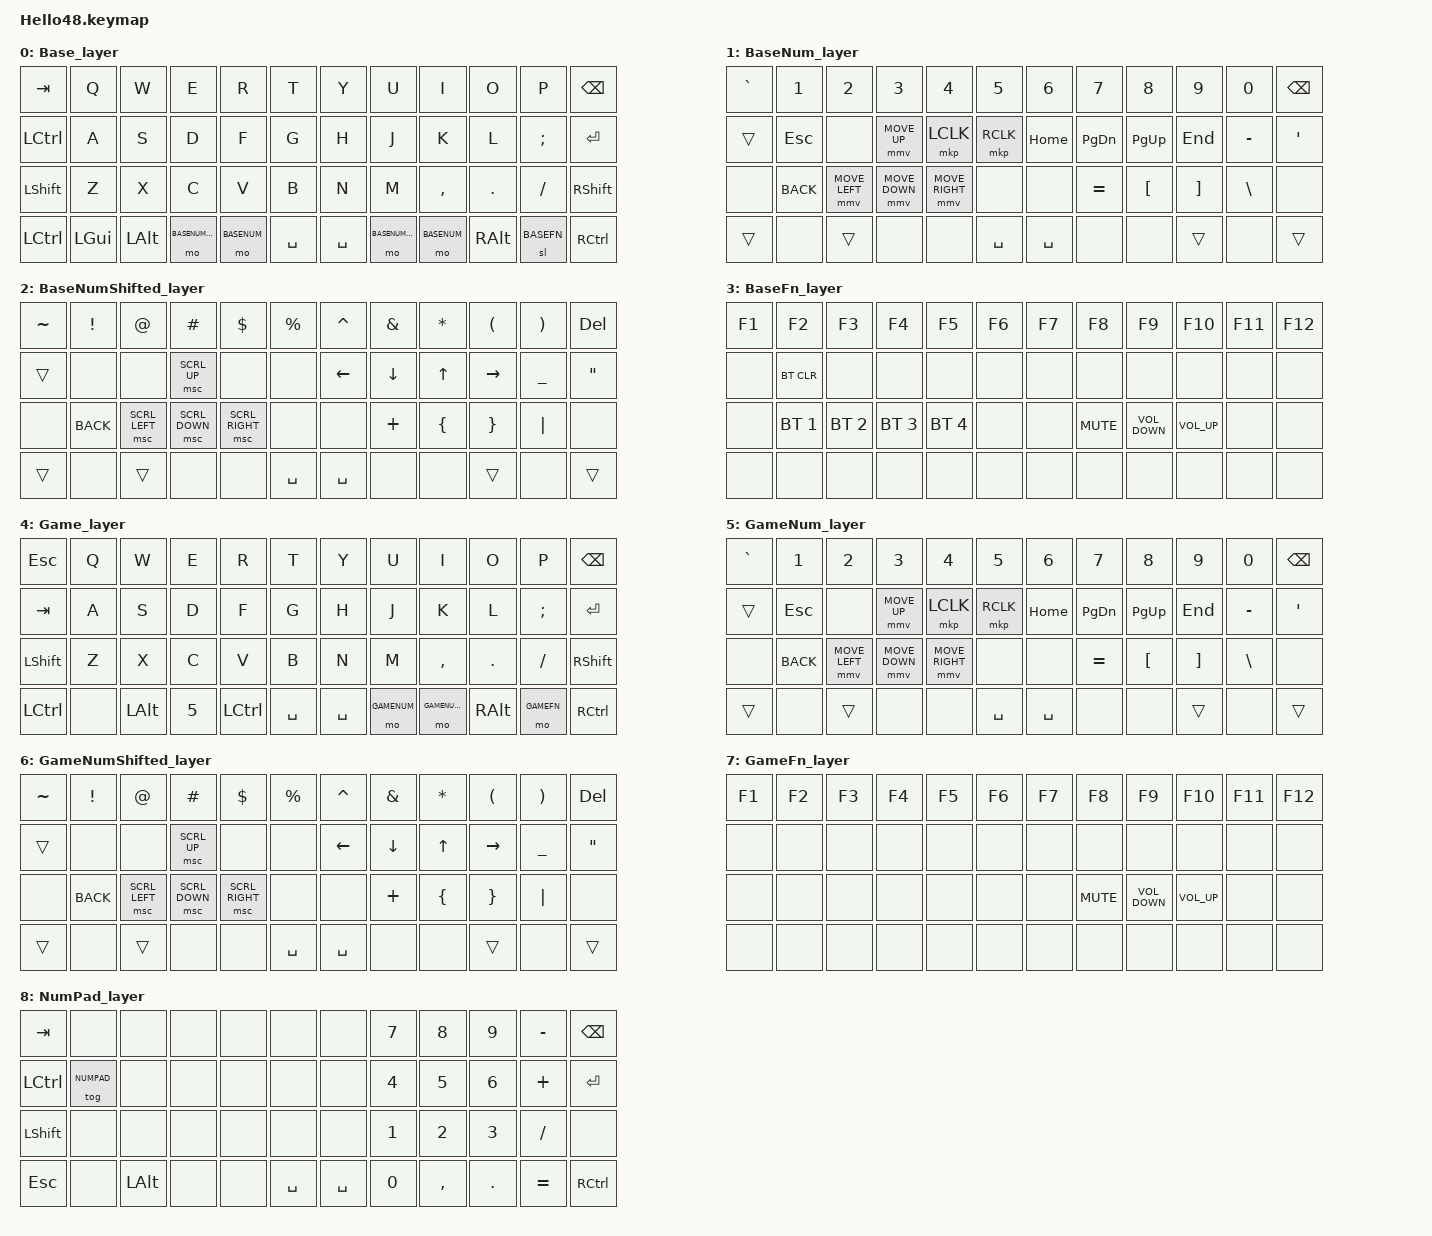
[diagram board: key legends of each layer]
#include <behaviors.dtsi>
#include <dt-bindings/zmk/keys.h>
#include <dt-bindings/zmk/bt.h>
#include <dt-bindings/zmk/pointing.h>

#define BASE 0
#define BASENUM 1
#define BASENUMSHIFTED 2
#define BASEFN 3
#define GAME 4
#define GAMENUM 5
#define GAMENUMSHIFTED 6
#define GAMEFN 7
#define NUMPAD 8

/ {
  combos {
    compatible = "zmk,combos";
    
    combo_GameToggle {
      timeout-ms = <50>;
      key-positions = <0 11 36 47>;
      layers = <BASE GAME>;
      bindings = <&tog GAME>; 
    };
	combo_NumPad {
      timeout-ms = <50>;
      key-positions = <19 20 33>;
      layers = <BASE NUMPAD>;
      bindings = <&tog NUMPAD>; 
    };
	combo_CapsLock {
      timeout-ms = <50>;
      key-positions = <24 35>;
      layers = <BASE GAME>;
      bindings = <&kp CAPS>; 
    };
  };
  
  &sl {
    release-after-ms = <3000>;
  };

  keymap {
    compatible = "zmk,keymap";

    Base_layer {
      bindings = <
        &kp TAB          &kp Q        &kp W        &kp E              &kp R       &kp T     &kp Y     &kp U              &kp I       &kp O         &kp P         &kp BACKSPACE
		&kp LEFT_CONTROL &kp A        &kp S        &kp D              &kp F       &kp G     &kp H     &kp J              &kp K       &kp L         &kp SEMICOLON &kp RETURN
		&kp LEFT_SHIFT   &kp Z        &kp X        &kp C              &kp V       &kp B     &kp N     &kp M              &kp COMMA   &kp DOT       &kp SLASH     &kp RIGHT_SHIFT
		&kp LEFT_CONTROL &kp LEFT_GUI &kp LEFT_ALT &mo BASENUMSHIFTED &mo BASENUM &kp SPACE &kp SPACE &mo BASENUMSHIFTED &mo BASENUM &kp RIGHT_ALT &sl BASEFN    &kp RIGHT_CONTROL
      >;
    };

    BaseNum_layer {
      bindings = <
        &kp GRAVE &kp N1       &kp N2         &kp N3         &kp N4          &kp N5      &kp N6      &kp N7           &kp N8            &kp N9            &kp N0        &kp BACKSPACE
		&trans    &kp ESCAPE   &none          &mmv MOVE_UP   &mkp LCLK       &mkp RCLK   &kp HOME    &kp PG_DN        &kp PG_UP         &kp END           &kp MINUS     &kp SINGLE_QUOTE
		&none     &kp K_BACK   &mmv MOVE_LEFT &mmv MOVE_DOWN &mmv MOVE_RIGHT &none       &none       &kp EQUAL        &kp LEFT_BRACKET  &kp RIGHT_BRACKET &kp BACKSLASH &none
		&trans    &none        &trans         &none          &none           &kp SPACE   &kp SPACE   &none            &none             &trans            &none         &trans 
      >;
    };

    BaseNumShifted_layer {
      bindings = <
        &kp TILDE &kp EXCLAMATION &kp AT_SIGN    &kp HASH       &kp DOLLAR      &kp PERCENT &kp CARET &kp AMPERSAND &kp ASTERISK   &kp LEFT_PARENTHESIS &kp RIGHT_PARENTHESIS &kp DEL
		&trans    &none           &none          &msc SCRL_UP   &none           &none       &kp LEFT  &kp DOWN      &kp UP         &kp RIGHT            &kp UNDERSCORE        &kp DOUBLE_QUOTES
		&none     &kp K_BACK      &msc SCRL_LEFT &msc SCRL_DOWN &msc SCRL_RIGHT &none       &none     &kp PLUS      &kp LEFT_BRACE &kp RIGHT_BRACE      &kp PIPE              &none
		&trans    &none           &trans         &none          &none           &kp SPACE   &kp SPACE &none         &none          &trans               &none                 &trans 
      >;
    };

    BaseFn_layer {
      bindings = <
        &kp F1 &kp F2       &kp F3       &kp F4       &kp F5       &kp F6 &kp F7 &kp F8     &kp F9            &kp F10         &kp F11 &kp F12
		&none  &bt BT_CLR   &none        &none        &none        &none  &none  &none      &none             &none           &none   &none
		&none  &bt BT_SEL 1 &bt BT_SEL 2 &bt BT_SEL 3 &bt BT_SEL 4 &none  &none  &kp K_MUTE &kp K_VOLUME_DOWN &kp K_VOLUME_UP &none   &none
		&none  &none        &none        &none        &none        &none  &none  &none      &none             &none           &none   &none 
      >;
    };

    Game_layer {
      bindings = <
        &kp ESCAPE       &kp Q        &kp W        &kp E              &kp R            &kp T     &kp Y     &kp U              &kp I              &kp O         &kp P         &kp BACKSPACE
		&kp TAB          &kp A        &kp S        &kp D              &kp F            &kp G     &kp H     &kp J              &kp K              &kp L         &kp SEMICOLON &kp RETURN
		&kp LEFT_SHIFT   &kp Z        &kp X        &kp C              &kp V            &kp B     &kp N     &kp M              &kp COMMA          &kp DOT       &kp SLASH     &kp RIGHT_SHIFT
		&kp LEFT_CONTROL &none        &kp LEFT_ALT &kp N5             &kp LEFT_CONTROL &kp SPACE &kp SPACE &mo GAMENUM        &mo GAMENUMSHIFTED &kp RIGHT_ALT &mo GAMEFN    &kp RIGHT_CONTROL
		>;
    };

    GameNum_layer {
      bindings = <
        &kp GRAVE &kp N1       &kp N2         &kp N3         &kp N4          &kp N5      &kp N6      &kp N7           &kp N8            &kp N9            &kp N0        &kp BACKSPACE
		&trans    &kp ESCAPE   &none          &mmv MOVE_UP   &mkp LCLK       &mkp RCLK   &kp HOME    &kp PG_DN        &kp PG_UP         &kp END           &kp MINUS     &kp SINGLE_QUOTE
		&none     &kp K_BACK   &mmv MOVE_LEFT &mmv MOVE_DOWN &mmv MOVE_RIGHT &none       &none       &kp EQUAL        &kp LEFT_BRACKET  &kp RIGHT_BRACKET &kp BACKSLASH &none
		&trans    &none        &trans         &none          &none           &kp SPACE   &kp SPACE   &none            &none             &trans            &none         &trans
      >;
    };

    GameNumShifted_layer {
      bindings = <
        &kp TILDE &kp EXCLAMATION &kp AT_SIGN    &kp HASH       &kp DOLLAR      &kp PERCENT &kp CARET &kp AMPERSAND &kp ASTERISK   &kp LEFT_PARENTHESIS &kp RIGHT_PARENTHESIS &kp DEL
		&trans    &none           &none          &msc SCRL_UP   &none           &none       &kp LEFT  &kp DOWN      &kp UP         &kp RIGHT            &kp UNDERSCORE        &kp DOUBLE_QUOTES
		&none     &kp K_BACK      &msc SCRL_LEFT &msc SCRL_DOWN &msc SCRL_RIGHT &none       &none     &kp PLUS      &kp LEFT_BRACE &kp RIGHT_BRACE      &kp PIPE              &none
		&trans    &none           &trans         &none          &none           &kp SPACE   &kp SPACE &none         &none          &trans               &none                 &trans
      >;
    };

    GameFn_layer {
      bindings = <
        &kp F1 &kp F2       &kp F3       &kp F4       &kp F5       &kp F6 &kp F7 &kp F8     &kp F9            &kp F10         &kp F11 &kp F12
		&none  &none        &none        &none        &none        &none  &none  &none      &none             &none           &none   &none
		&none  &none        &none        &none        &none        &none  &none  &kp K_MUTE &kp K_VOLUME_DOWN &kp K_VOLUME_UP &none   &none
		&none  &none        &none        &none        &none        &none  &none  &none      &none             &none           &none   &none 
      >;
    };

    NumPad_layer {
      bindings = <
        &kp TAB          &none         &none        &none &none &none     &none     &kp N7 &kp N8    &kp N9  &kp MINUS &kp BACKSPACE
		&kp LEFT_CONTROL &tog NUMPAD   &none        &none &none &none     &none     &kp N4 &kp N5    &kp N6  &kp PLUS  &kp RETURN
		&kp LEFT_SHIFT   &none         &none        &none &none &none     &none     &kp N1 &kp N2    &kp N3  &kp SLASH &none
		&kp ESCAPE       &none         &kp LEFT_ALT &none &none &kp SPACE &kp SPACE &kp N0 &kp COMMA &kp DOT &kp EQUAL &kp RIGHT_CONTROL 
      >;
    };
  };
};
